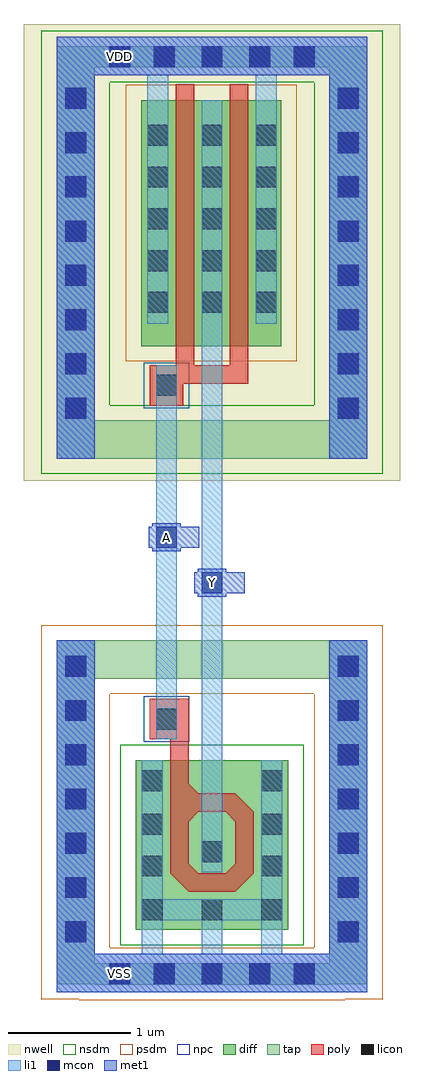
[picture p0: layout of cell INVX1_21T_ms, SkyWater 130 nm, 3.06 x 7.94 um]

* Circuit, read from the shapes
.subckt INVX1_21T_ms A VDD VSS Y
XM1 VSS A Y VSS sky130_fd_pr__nfet_01v8 w=2.555 l=0.1482
XM2 Y A VDD VDD sky130_fd_pr__pfet_01v8 w=2 l=0.15 m=2
.ends

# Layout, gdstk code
from math import pi, radians
import gdstk
lib = gdstk.Library(unit=1e-6, precision=1e-09)
def R(c, l, rs):  # rectangles x0, y0, x1, y1
    for r in rs: c.add(gdstk.rectangle(r[:2], r[2:], *l))
def A(c, l, x, y, w, h, nx, ny, dx, dy):  # array of equal rectangles
    R(c, l, [(x+i*dx, y+j*dy, x+i*dx+w, y+j*dy+h) for i in range(nx) for j in range(ny)])
def P(c, l, *ps):  # polygons
    for p in ps: c.add(gdstk.Polygon(p, *l))
nwell = (64, 20)
diff = (65, 20)
tap = (65, 44)
poly = (66, 20)
licon = (66, 44)
li1 = (67, 20)
mcon = (67, 44)
met1 = (68, 20)
nsdm = (93, 44)
psdm = (94, 20)
npc = (95, 20)

diff_ring_side = lib.new_cell('diff_ring_side')
R(diff_ring_side, nwell, [(-0.42,4.16,0.42,7.875)])
R(diff_ring_side, tap, [(-0.155,0.065,0.155,2.86), (-0.155,4.34,0.155,7.695)])
A(diff_ring_side, licon, -0.085, 0.405, 0.17, 0.17, 1, 7, 0, 0.36)
A(diff_ring_side, licon, -0.085, 4.665, 0.17, 0.17, 1, 8, 0, 0.36)
R(diff_ring_side, li1, [(-0.155,0,0.155,2.86), (-0.155,4.34,0.155,7.77)])
A(diff_ring_side, mcon, -0.085, 0.405, 0.17, 0.17, 1, 7, 0, 0.36)
A(diff_ring_side, mcon, -0.085, 4.665, 0.17, 0.17, 1, 8, 0, 0.36)
R(diff_ring_side, met1, [(-0.155,0,0.155,2.86), (-0.155,4.34,0.155,7.77)])
R(diff_ring_side, nsdm, [(-0.28,4.215,0.28,7.82)])
R(diff_ring_side, psdm, [(-0.28,-0.06,0.28,2.985)])

nmos_top = lib.new_cell('nmos_top')
R(nmos_top, diff, [(-0.005,0,1.235,1.38)])
R(nmos_top, poly, [(0.425,0.31,0.805,0.46), (0.275,0.46,0.425,0.96), (0.805,0.46,0.955,0.96), (0.425,0.96,0.955,1.11), (0.805,1.11,0.955,1.545)])
P(nmos_top, poly, [(0.725,1.11),(0.805,1.11),(0.805,1.19)],
  [(0.275,0.96),(0.425,0.96),(0.425,1.11)],
  [(0.425,0.88),(0.425,0.96),(0.505,0.96)],
  [(0.725,0.96),(0.805,0.96),(0.805,0.88)],
  [(0.425,0.54),(0.425,0.46),(0.505,0.46)],
  [(0.725,0.46),(0.805,0.46),(0.805,0.54)],
  [(0.275,0.46),(0.425,0.46),(0.425,0.31)],
  [(0.805,0.31),(0.805,0.46),(0.955,0.46)])
A(nmos_top, licon, 0.045, 0.08, 0.17, 0.17, 3, 1, 0.485, 0)
R(nmos_top, licon, [(0.045,0.435,0.215,0.605), (1.015,0.435,1.185,0.605), (0.53,0.55,0.7,0.72), (0.045,0.775,0.215,0.945), (1.015,0.775,1.185,0.945), (0.045,1.13,0.215,1.3), (1.015,1.13,1.185,1.3)])
R(nmos_top, li1, [(0.045,0,0.215,0.08), (1.015,0,1.185,0.08), (0.045,0.08,1.185,0.25), (0.045,0.25,0.215,1.38), (1.015,0.25,1.185,1.38), (0.53,0.47,0.7,0.8)])
R(nmos_top, nsdm, [(-0.13,-0.125,1.36,1.505)])

pmos2_2uq = lib.new_cell('pmos2_2uq')
R(pmos2_2uq, nwell, [(0.26,-2.175,1.76,0.185)])
R(pmos2_2uq, diff, [(0.44,-1.995,1.58,0.005)])
R(pmos2_2uq, poly, [(0.72,-2.3,1.31,-2.15), (0.72,-2.15,0.87,0.135), (1.16,-2.15,1.31,0.135)])
A(pmos2_2uq, licon, 0.49, -1.385, 0.17, 0.17, 3, 4, 0.44, 0.34)
R(pmos2_2uq, licon, [(0.49,-1.725,0.66,-1.555), (1.37,-1.725,1.54,-1.555)])
R(pmos2_2uq, li1, [(0.49,-1.815,0.66,0.21), (0.93,-1.815,1.1,0.005), (1.37,-1.815,1.54,0.21)])
R(pmos2_2uq, psdm, [(0.315,-2.12,1.705,0.13)])

poly_li1_contact = lib.new_cell('poly_li1_contact')
R(poly_li1_contact, poly, [(-0.165,-0.135,0.165,0.135)])
R(poly_li1_contact, licon, [(-0.085,-0.085,0.085,0.085)])
R(poly_li1_contact, li1, [(-0.165,-0.085,0.165,0.085)])
R(poly_li1_contact, npc, [(-0.185,-0.185,0.185,0.185)])

li1_m1_contact_perp_ext = lib.new_cell('li1_M1_contact_perp_ext')
R(li1_m1_contact_perp_ext, li1, [(-0.085,-0.085,0.245,0.085)])
R(li1_m1_contact_perp_ext, mcon, [(-0.085,-0.085,0.085,0.085)])
R(li1_m1_contact_perp_ext, met1, [(-0.085,-0.265,0.085,-0.115), (-0.115,-0.115,0.115,0.115), (-0.085,0.115,0.085,0.145)])

invx1_21t_ms = lib.new_cell('INVX1_21T_ms')
R(invx1_21t_ms, nwell, [(0.42,4.16,1.8,7.875)])
R(invx1_21t_ms, diff, [(1.025,0.975,1.195,1.465), (1.025,5.525,1.195,5.695)])
R(invx1_21t_ms, tap, [(0.155,0.06,2.065,0.235), (0.155,2.55,2.065,2.86), (0.155,4.34,2.065,4.65), (0.155,7.525,2.065,7.695)])
R(invx1_21t_ms, poly, [(0.77,2.05,0.92,2.055), (0.655,2.055,0.92,2.08), (0.605,2.08,0.92,2.35), (0.655,2.35,0.92,2.385)])
A(invx1_21t_ms, licon, 0.635, 0.065, 0.17, 0.17, 3, 2, 0.39, 7.46)
R(invx1_21t_ms, licon, [(0.275,0.065,0.445,0.235), (1.775,0.065,1.945,0.235), (1.025,5.525,1.195,5.695), (0.275,7.525,0.445,7.695), (1.775,7.525,1.945,7.695)])
R(invx1_21t_ms, li1, [(0.155,0,2.065,0.31), (0.54,0.31,0.71,0.505), (1.025,0.31,1.195,0.585), (1.51,0.31,1.68,0.505), (1.025,0.975,1.195,5.45), (0.655,2.135,0.825,2.305), (0.655,2.305,0.74,2.385), (0.655,2.385,0.825,4.77), (1.025,5.525,1.195,5.695), (0.155,7.46,2.065,7.77)])
A(invx1_21t_ms, mcon, 0.635, 0.065, 0.17, 0.17, 3, 2, 0.39, 7.46)
R(invx1_21t_ms, mcon, [(0.275,0.065,0.445,0.235), (1.775,0.065,1.945,0.235), (0.275,7.525,0.445,7.695), (1.775,7.525,1.945,7.695)])
R(invx1_21t_ms, met1, [(0.155,0,2.065,0.31), (1.025,3.245,1.195,3.415), (0.655,3.615,0.825,3.785), (0.155,7.46,2.065,7.77)])
R(invx1_21t_ms, nsdm, [(0.9,0.85,1.32,1.59), (0.03,4.215,2.19,4.775), (0.03,7.4,2.19,7.82)])
R(invx1_21t_ms, psdm, [(0.03,-0.065,2.19,0.36), (0.03,2.425,2.19,2.985), (0.9,5.4,1.32,5.82)])
invx1_21t_ms.add(gdstk.Reference(diff_ring_side, (2.22,0)))
invx1_21t_ms.add(gdstk.Reference(diff_ring_side, (0,0)))
invx1_21t_ms.add(gdstk.Reference(nmos_top, (1.725,0.505), rotation=pi, x_reflection=True))
invx1_21t_ms.add(gdstk.Reference(pmos2_2uq, (0.095,7.25)))
invx1_21t_ms.add(gdstk.Reference(poly_li1_contact, (0.74,4.935), rotation=3*pi/2))
invx1_21t_ms.add(gdstk.Reference(poly_li1_contact, (0.74,2.22), rotation=pi/2))
invx1_21t_ms.add(gdstk.Reference(li1_m1_contact_perp_ext, (0.74,3.7), rotation=pi/2))
invx1_21t_ms.add(gdstk.Reference(li1_m1_contact_perp_ext, (1.11,3.33), rotation=pi/2))
invx1_21t_ms.add(gdstk.Label('A', (0.74,3.7), layer=68, texttype=16))
invx1_21t_ms.add(gdstk.Label('Y', (1.11,3.33), layer=68, texttype=16))
invx1_21t_ms.add(gdstk.Label('VDD', (0.36,7.61), layer=68, texttype=16))
invx1_21t_ms.add(gdstk.Label('VSS', (0.36,0.15), layer=68, texttype=16))

lib.write_gds('INVX1_21T_ms.gds')
